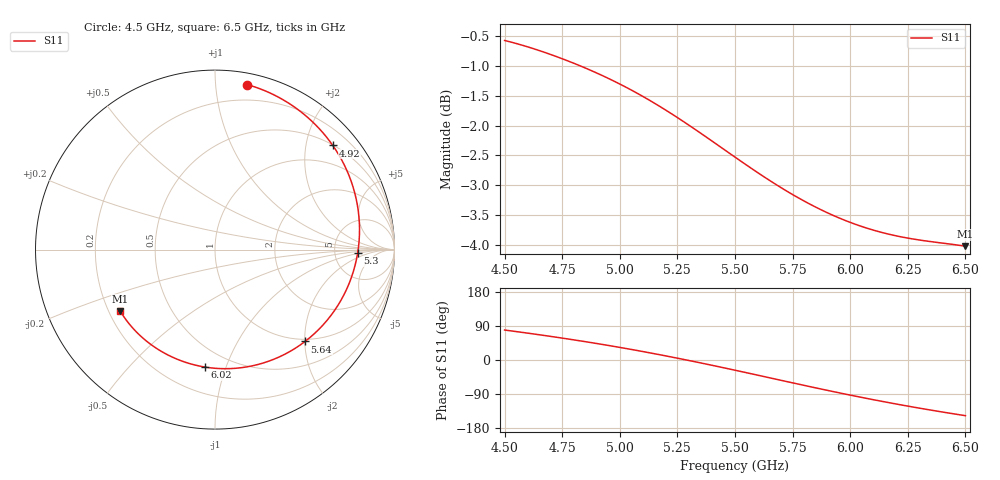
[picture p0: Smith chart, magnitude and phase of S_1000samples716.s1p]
! TOUCHSTONE file generated by CST MICROWAVE STUDIO
! Date and time: Sat Oct 29 03:17:58 2022
! Project name: L.cst
! Parameters = {Di=1.27; Epsilon_r=1.56; InnerDiameter=1.27; Length=2; Lf=10; Lg=60; OuterConductorThickness=0.2921; OuterDiameter=3.6; Wf=3; Wp=41.2; de=1.5; df=6.8; g=0.8; gx=1.36759; gy=1.84001; h=2.34; hf=1.524; px=8.41743; py=8.65852; w=9.7; wx=7.04985; wy=6.81851}
! Header version: 2018
! Port assignment regex: !\s*Touchstone port\s*([0-9]+)\s*=\s*(CST MWS port|CST DS port)\s*([0-9]+|Zmin|Zmax)\s*\(\"(.*)\"\)(\s*mode\s*([0-9]+))?.*
! Touchstone port assignment:
! Touchstone port 1 = CST MWS port 1 ("")
# GHz S DB R 50
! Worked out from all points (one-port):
!   101 points, 4.5 GHz to 6.5 GHz, reference 50 ohm
!   lowest |S11| = -4.0 dB at 6.5 GHz (marker M1), VSWR 4.39, Z = 12.3 - j14 ohm
!   |S11| at or under -10 dB: nowhere
!   S11 on the Smith chart (normalised r, x): 4.5 GHz: 0.08, +1.21; 4.92 GHz: 0.51, +2.55; 5.3 GHz: 8.67, -0.87; 5.64 GHz: 0.95, -2.01; 6.02 GHz: 0.37, -0.85; 6.5 GHz: 0.25, -0.28
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4.5  -0.57 79.1
4.58  -0.65 72.6
4.64  -0.72 67.5
4.76  -0.89 56.9
4.84  -1.01 49.4
4.92  -1.15 41.5
5  -1.30 33.2
5.08  -1.46 24.5
5.14  -1.60 17.8
5.2  -1.74 10.8
5.26  -1.89 3.6
5.3  -1.99 -1.3
5.34  -2.10 -6.3
5.4  -2.26 -13.9
5.5  -2.53 -27.0
5.58  -2.74 -37.6
5.64  -2.89 -45.6
5.7  -3.04 -53.6
5.76  -3.18 -61.6
5.82  -3.31 -69.6
5.88  -3.42 -77.4
5.94  -3.53 -85.1
6  -3.62 -92.6
6.02  -3.65 -95.1
6.14  -3.80 -109.4
6.26  -3.90 -122.7
6.38  -3.96 -135.2
6.5  -4.02 -146.9
